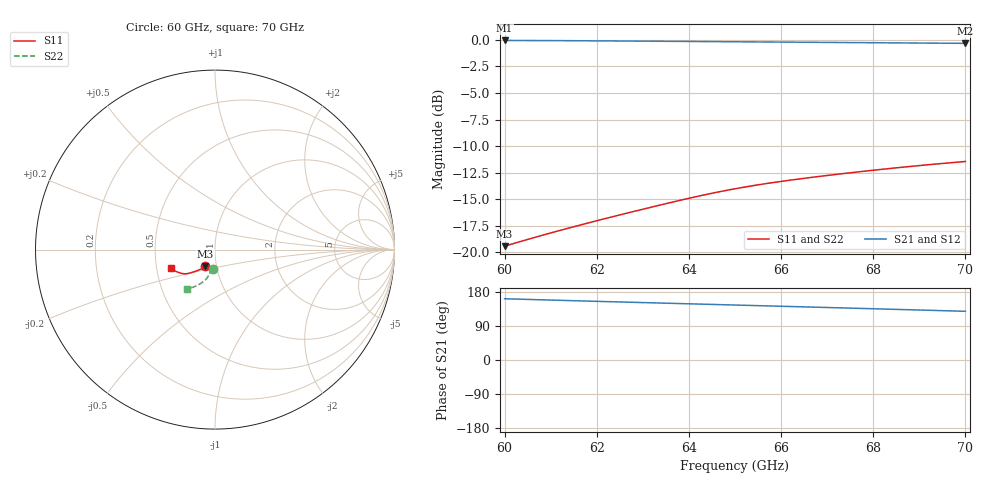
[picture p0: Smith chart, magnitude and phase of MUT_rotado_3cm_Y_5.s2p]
! TOUCHSTONE file generated by CST MICROWAVE STUDIO
! Date and time: Wed Feb 21 09:08:40 2024
! Project name: material_prueba.cst
! Parameters = {Y=1}
! Header version: 2018
! Port assignment regex: !\s*Touchstone port\s*([0-9]+)\s*=\s*(CST MWS port|CST DS port)\s*([0-9]+|Zmin|Zmax)\s*\(\"(.*)\"\)(\s*mode\s*([0-9]+))?.*
! Touchstone port assignment:
! Touchstone port 1 = CST MWS port 1 ("")
! Touchstone port 2 = CST MWS port 2 ("")
# GHz S MA R 376.7
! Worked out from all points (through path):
!   1001 points, 60 GHz to 70 GHz, reference 376.7 ohm
!   highest |S21| = -0.05 dB at 60 GHz (marker M1); lowest = -0.3 dB at 70 GHz (marker M2)
!   group delay of S21, straight-line fit = 9.09 ps
!   lowest |S11| = -19.4 dB at 60 GHz (marker M3), VSWR 1.24, Z = 333 - j62.5 ohm
!   |S11| at or under -10 dB: start of sweep to end of sweep
!   |S22| runs from -19.4 to -11.4 dB; largest |S21 - S12| = 0.00063
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60  0.1069 -119.9  0.9943 161.6  0.9941 161.7  0.1072 -96.9
60.05  0.1077 -120.1  0.9943 161.4  0.9941 161.5  0.1081 -97.1
60.46  0.1144 -121.6  0.9938 160.0  0.9939 160.0  0.1155 -98.8
60.79  0.1199 -122.8  0.9933 158.8  0.9934 158.9  0.1211 -100.0
61.15  0.126 -124.2  0.9925 157.6  0.9926 157.6  0.127 -101.2
61.67  0.135 -126.2  0.9912 155.9  0.9913 155.9  0.1353 -102.5
62.11  0.1429 -127.9  0.9898 154.4  0.9899 154.4  0.143 -103.3
62.58  0.1516 -129.8  0.9883 152.9  0.9884 152.9  0.1523 -104.1
63.01  0.1598 -131.5  0.9869 151.5  0.9869 151.5  0.1613 -105.2
63.34  0.1663 -132.7  0.9858 150.4  0.9858 150.4  0.1683 -106.2
63.72  0.174 -134.1  0.9844 149.2  0.9844 149.2  0.1759 -107.4
64.12  0.1821 -135.5  0.983 147.9  0.983 147.9  0.1836 -108.8
64.57  0.1911 -136.9  0.9814 146.4  0.9814 146.4  0.1918 -110.3
65  0.1992 -138.2  0.9799 145.0  0.9799 145.0  0.1992 -111.7
65.36  0.2056 -139.3  0.9787 143.9  0.9787 143.9  0.2052 -112.9
65.75  0.2119 -140.5  0.9773 142.6  0.9774 142.6  0.2115 -114.1
66.18  0.2185 -142.0  0.9759 141.2  0.9759 141.2  0.2181 -115.4
66.67  0.2255 -143.7  0.9742 139.6  0.9743 139.6  0.2254 -116.9
67.48  0.2367 -147.0  0.9715 137.0  0.9716 137.0  0.2368 -119.2
68.34  0.248 -150.5  0.9688 134.1  0.9688 134.1  0.2481 -121.4
69.23  0.259 -154.3  0.9659 131.1  0.966 131.1  0.2589 -123.7
70  0.2678 -157.5  0.9635 128.5  0.9635 128.5  0.2677 -125.5
